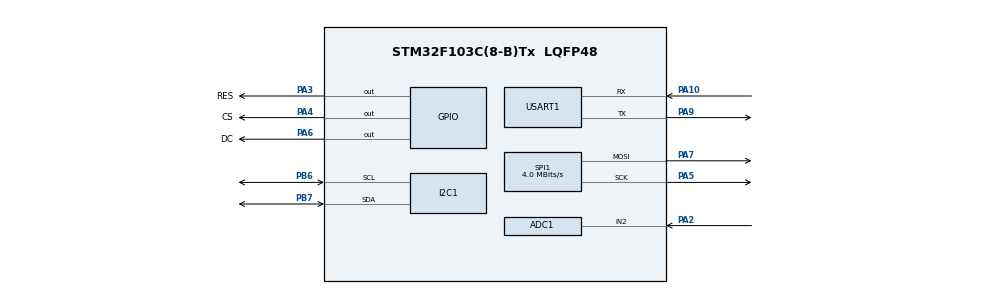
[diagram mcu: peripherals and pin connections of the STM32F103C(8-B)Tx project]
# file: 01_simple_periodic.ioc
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ADC1.Channel-0\#ChannelRegularConversion=ADC_CHANNEL_2
ADC1.NbrOfConversionFlag=1
ADC1.Rank-0\#ChannelRegularConversion=1
ADC1.SamplingTime-0\#ChannelRegularConversion=ADC_SAMPLETIME_1CYCLE_5
ADC1.master=1
Mcu.Family=STM32F1
Mcu.Name=STM32F103C(8-B)Tx
Mcu.Package=LQFP48
NVIC.PriorityGroup=NVIC_PRIORITYGROUP_4
NVIC.TIM1_UP_IRQn=true\:0\:0\:false\:false\:true\:true\:true
NVIC.USART1_IRQn=true\:0\:0\:false\:false\:true\:true\:true
PA10.Mode=Asynchronous
PA10.Signal=USART1_RX
PA2.Signal=ADCx_IN2
PA3.GPIO_Label=RES
PA3.Signal=GPIO_Output
PA4.GPIO_Label=CS
PA4.Signal=GPIO_Output
PA5.Mode=TX_Only_Simplex_Unidirect_Master
PA5.Signal=SPI1_SCK
PA6.GPIO_Label=DC
PA6.Signal=GPIO_Output
PA7.Mode=TX_Only_Simplex_Unidirect_Master
PA7.Signal=SPI1_MOSI
PA9.Mode=Asynchronous
PA9.Signal=USART1_TX
PB6.Mode=I2C
PB6.Signal=I2C1_SCL
PB7.Mode=I2C
PB7.Signal=I2C1_SDA
ProjectManager.HeapSize=0x200
ProjectManager.StackSize=0x400
ProjectManager.TargetToolchain=STM32CubeIDE
RCC.APB1Freq_Value=8000000
RCC.APB2Freq_Value=8000000
SH.ADCx_IN2.0=ADC1_IN2,IN2
SPI1.CalculateBaudRate=4.0 MBits/s
SPI1.Direction=SPI_DIRECTION_2LINES
SPI1.Mode=SPI_MODE_MASTER
SPI1.VirtualType=VM_MASTER
TIM1.Period=4999
TIM1.Prescaler=7999
USART1.VirtualMode=VM_ASYNC
VP_SYS_VS_ND.Mode=No_Debug
VP_TIM1_VS_ClockSourceINT.Mode=Internal
board=custom

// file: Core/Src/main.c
#include "main.h"

#include <stdint.h>
#include <stdarg.h>
#include <stdio.h>

#include "oled.h"
#include "aht10.h"
#include "uart_handle.h"

sensor_typedef m_sensor;

/* USER CODE END Includes */

ADC_HandleTypeDef hadc1;

I2C_HandleTypeDef hi2c1;

SPI_HandleTypeDef hspi1;

TIM_HandleTypeDef htim1;

UART_HandleTypeDef huart1;

/* USER CODE BEGIN PV */
typedef enum {
    EVENT_NONE = 0,
    EVENT_UART,
    EVENT_OLED,
    EVENT_TEMP,
    EVENT_MOISTURE
} EventType;

#define EVENT_QUEUE_SIZE 10

typedef struct {
    EventType buffer[EVENT_QUEUE_SIZE];
    uint8_t head;
    uint8_t tail;
} EventQueue;

EventQueue uart_event_queue = { .head = 0, .tail = 0 };

uint32_t period = 2000;
uint8_t period_change = 0;
void HAL_TIM_PeriodElapsedCallback(TIM_HandleTypeDef *htim)
{
	static EventType task = EVENT_OLED;
    if (htim->Instance == TIM1)
    {
    	serial_print("%lu ms interrupt \r\n",period);
    	task++;
    	switch (task % 5) {
    	          case EVENT_UART:
    	              serial_print("add task UART\r\n");
    	              event_queue_push(&uart_event_queue, EVENT_UART);
    	              break;
    	          case EVENT_OLED:
    	        	  serial_print("add task OLED\r\n");
    	        	  event_queue_push(&uart_event_queue, EVENT_OLED);
    	              break;
    	          case EVENT_TEMP:
    	        	  serial_print("add task TEMP\r\n");
    	        	  event_queue_push(&uart_event_queue, EVENT_TEMP);
    	              break;
    	          case EVENT_MOISTURE:
    	        	  serial_print("add task MOISTURE\r\n");
    	        	  event_queue_push(&uart_event_queue, EVENT_MOISTURE);
    	              break;
    	          default:
    	              break;
    	      }

    }
}

void task_aht10_read()
{
	aht10_get_data(&m_sensor);
}

void task_soil_read()
{
	moisture_get(4500, 1500, &m_sensor);
}

void task_oled_display()
{
	char oled_buf[32];

		  sprintf(oled_buf, "TEMP: %d.%d C", m_sensor.temp/100, m_sensor.temp %100);
		  oled_msg(3, 20, oled_buf);
		  sprintf(oled_buf, "HUMID: %d.%d %%", m_sensor.humidity/100, m_sensor.humidity %100);
		  oled_msg(5, 20, oled_buf);
		  sprintf(oled_buf, "MOISTURE: %d.%d %%", m_sensor.soil_moisture/100, m_sensor.soil_moisture %100);
		  oled_msg(7, 20, oled_buf);

}

void task_uart_send()
{
	serial_print("TEMP: %d.%d | HUMID: %d.%d | MOISTURE: %d.%d|\r\n",
			m_sensor.temp/100, m_sensor.temp %100,
			m_sensor.humidity/100, m_sensor.humidity %100,
			m_sensor.soil_moisture/100, m_sensor.soil_moisture %100);
}

void event_handle(EventType event) {
      switch (event) {
          case EVENT_UART:
              serial_print("Handle task UART\r\n");
              task_uart_send();
              break;
          case EVENT_OLED:
        	  serial_print("Handle task OLED\r\n");
        	  task_oled_display();
              break;
          case EVENT_TEMP:
        	  serial_print("Handle task TEMP\r\n");
              task_aht10_read();
              break;
          case EVENT_MOISTURE:
        	  serial_print("Handle task MOISTURE\r\n");
              task_soil_read();
              break;
          default:
              break;
      }
  }

/* USER CODE END PV */

void SystemClock_Config(void);
static void MX_GPIO_Init(void);
static void MX_I2C1_Init(void);
static void MX_TIM1_Init(void);
static void MX_USART1_UART_Init(void);
static void MX_SPI1_Init(void);
static void MX_ADC1_Init(void);

int main(void)
{

  /* MCU Configuration--------------------------------------------------------*/

  /* Reset of all peripherals, Initializes the Flash interface and the Systick. */
  HAL_Init();

  /* Configure the system clock */
  SystemClock_Config();

  /* Initialize all configured peripherals */
  MX_GPIO_Init();
  MX_I2C1_Init();
  MX_TIM1_Init();
  MX_USART1_UART_Init();
  MX_SPI1_Init();
  MX_ADC1_Init();
  /* USER CODE BEGIN 2 */

  HAL_TIM_Base_Start_IT(&htim1);

  oled_init();
  oled_clear();

  uart_rx_IT();
  /* USER CODE END 2 */

  /* Infinite loop */
  while (1)
  {
	  EventType event = event_queue_pop(&uart_event_queue);
	 	      if (event != EVENT_NONE)
	 	      {
	 	          event_handle(event);
	 	      }

  }
}

void SystemClock_Config(void)
{
  RCC_OscInitTypeDef RCC_OscInitStruct = {0};
  RCC_ClkInitTypeDef RCC_ClkInitStruct = {0};
  RCC_PeriphCLKInitTypeDef PeriphClkInit = {0};

  /** Initializes the RCC Oscillators according to the specified parameters
  * in the RCC_OscInitTypeDef structure.
  */
  RCC_OscInitStruct.OscillatorType = RCC_OSCILLATORTYPE_HSI;
  RCC_OscInitStruct.HSIState = RCC_HSI_ON;
  RCC_OscInitStruct.HSICalibrationValue = RCC_HSICALIBRATION_DEFAULT;
  RCC_OscInitStruct.PLL.PLLState = RCC_PLL_NONE;
  if (HAL_RCC_OscConfig(&RCC_OscInitStruct) != HAL_OK)
  {
    Error_Handler();
  }
  /** Initializes the CPU, AHB and APB buses clocks
  */
  RCC_ClkInitStruct.ClockType = RCC_CLOCKTYPE_HCLK|RCC_CLOCKTYPE_SYSCLK
                              |RCC_CLOCKTYPE_PCLK1|RCC_CLOCKTYPE_PCLK2;
  RCC_ClkInitStruct.SYSCLKSource = RCC_SYSCLKSOURCE_HSI;
  RCC_ClkInitStruct.AHBCLKDivider = RCC_SYSCLK_DIV1;
  RCC_ClkInitStruct.APB1CLKDivider = RCC_HCLK_DIV1;
  RCC_ClkInitStruct.APB2CLKDivider = RCC_HCLK_DIV1;

  if (HAL_RCC_ClockConfig(&RCC_ClkInitStruct, FLASH_LATENCY_0) != HAL_OK)
  {
    Error_Handler();
  }
  PeriphClkInit.PeriphClockSelection = RCC_PERIPHCLK_ADC;
  PeriphClkInit.AdcClockSelection = RCC_ADCPCLK2_DIV2;
  if (HAL_RCCEx_PeriphCLKConfig(&PeriphClkInit) != HAL_OK)
  {
    Error_Handler();
  }
}

static void MX_ADC1_Init(void)
{

  ADC_ChannelConfTypeDef sConfig = {0};

  /** Common config
  */
  hadc1.Instance = ADC1;
  hadc1.Init.ScanConvMode = ADC_SCAN_DISABLE;
  hadc1.Init.ContinuousConvMode = DISABLE;
  hadc1.Init.DiscontinuousConvMode = DISABLE;
  hadc1.Init.ExternalTrigConv = ADC_SOFTWARE_START;
  hadc1.Init.DataAlign = ADC_DATAALIGN_RIGHT;
  hadc1.Init.NbrOfConversion = 1;
  if (HAL_ADC_Init(&hadc1) != HAL_OK)
  {
    Error_Handler();
  }
  /** Configure Regular Channel
  */
  sConfig.Channel = ADC_CHANNEL_2;
  sConfig.Rank = ADC_REGULAR_RANK_1;
  sConfig.SamplingTime = ADC_SAMPLETIME_1CYCLE_5;
  if (HAL_ADC_ConfigChannel(&hadc1, &sConfig) != HAL_OK)
  {
    Error_Handler();
  }

}

static void MX_I2C1_Init(void)
{

  hi2c1.Instance = I2C1;
  hi2c1.Init.ClockSpeed = 100000;
  hi2c1.Init.DutyCycle = I2C_DUTYCYCLE_2;
  hi2c1.Init.OwnAddress1 = 0;
  hi2c1.Init.AddressingMode = I2C_ADDRESSINGMODE_7BIT;
  hi2c1.Init.DualAddressMode = I2C_DUALADDRESS_DISABLE;
  hi2c1.Init.OwnAddress2 = 0;
  hi2c1.Init.GeneralCallMode = I2C_GENERALCALL_DISABLE;
  hi2c1.Init.NoStretchMode = I2C_NOSTRETCH_DISABLE;
  if (HAL_I2C_Init(&hi2c1) != HAL_OK)
  {
    Error_Handler();
  }

}

static void MX_SPI1_Init(void)
{

  /* SPI1 parameter configuration*/
  hspi1.Instance = SPI1;
  hspi1.Init.Mode = SPI_MODE_MASTER;
  hspi1.Init.Direction = SPI_DIRECTION_2LINES;
  hspi1.Init.DataSize = SPI_DATASIZE_8BIT;
  hspi1.Init.CLKPolarity = SPI_POLARITY_LOW;
  hspi1.Init.CLKPhase = SPI_PHASE_1EDGE;
  hspi1.Init.NSS = SPI_NSS_SOFT;
  hspi1.Init.BaudRatePrescaler = SPI_BAUDRATEPRESCALER_2;
  hspi1.Init.FirstBit = SPI_FIRSTBIT_MSB;
  hspi1.Init.TIMode = SPI_TIMODE_DISABLE;
  hspi1.Init.CRCCalculation = SPI_CRCCALCULATION_DISABLE;
  hspi1.Init.CRCPolynomial = 10;
  if (HAL_SPI_Init(&hspi1) != HAL_OK)
  {
    Error_Handler();
  }

}

static void MX_TIM1_Init(void)
{

  TIM_ClockConfigTypeDef sClockSourceConfig = {0};
  TIM_MasterConfigTypeDef sMasterConfig = {0};

  htim1.Instance = TIM1;
  htim1.Init.Prescaler = 7999;
  htim1.Init.CounterMode = TIM_COUNTERMODE_UP;
  htim1.Init.Period = 1999;
  htim1.Init.ClockDivision = TIM_CLOCKDIVISION_DIV1;
  htim1.Init.RepetitionCounter = 0;
  htim1.Init.AutoReloadPreload = TIM_AUTORELOAD_PRELOAD_DISABLE;
  if (HAL_TIM_Base_Init(&htim1) != HAL_OK)
  {
    Error_Handler();
  }
  sClockSourceConfig.ClockSource = TIM_CLOCKSOURCE_INTERNAL;
  if (HAL_TIM_ConfigClockSource(&htim1, &sClockSourceConfig) != HAL_OK)
  {
    Error_Handler();
  }
  sMasterConfig.MasterOutputTrigger = TIM_TRGO_RESET;
  sMasterConfig.MasterSlaveMode = TIM_MASTERSLAVEMODE_DISABLE;
  if (HAL_TIMEx_MasterConfigSynchronization(&htim1, &sMasterConfig) != HAL_OK)
  {
    Error_Handler();
  }

}

static void MX_USART1_UART_Init(void)
{

  huart1.Instance = USART1;
  huart1.Init.BaudRate = 115200;
  huart1.Init.WordLength = UART_WORDLENGTH_8B;
  huart1.Init.StopBits = UART_STOPBITS_1;
  huart1.Init.Parity = UART_PARITY_NONE;
  huart1.Init.Mode = UART_MODE_TX_RX;
  huart1.Init.HwFlowCtl = UART_HWCONTROL_NONE;
  huart1.Init.OverSampling = UART_OVERSAMPLING_16;
  if (HAL_UART_Init(&huart1) != HAL_OK)
  {
    Error_Handler();
  }

}

static void MX_GPIO_Init(void)
{
  GPIO_InitTypeDef GPIO_InitStruct = {0};

  /* GPIO Ports Clock Enable */
  __HAL_RCC_GPIOA_CLK_ENABLE();
  __HAL_RCC_GPIOB_CLK_ENABLE();

  /*Configure GPIO pin Output Level */
  HAL_GPIO_WritePin(GPIOA, RES_Pin|CS_Pin|DC_Pin, GPIO_PIN_RESET);

  /*Configure GPIO pins : RES_Pin CS_Pin DC_Pin */
  GPIO_InitStruct.Pin = RES_Pin|CS_Pin|DC_Pin;
  GPIO_InitStruct.Mode = GPIO_MODE_OUTPUT_PP;
  GPIO_InitStruct.Pull = GPIO_NOPULL;
  GPIO_InitStruct.Speed = GPIO_SPEED_FREQ_LOW;
  HAL_GPIO_Init(GPIOA, &GPIO_InitStruct);

}

void Error_Handler(void)
{
  __disable_irq();
  while (1)
  {
  }
}
